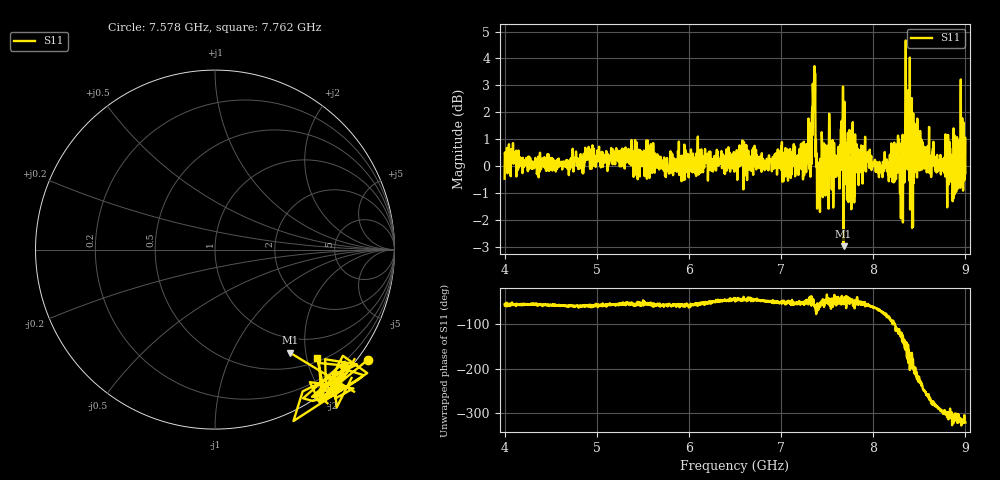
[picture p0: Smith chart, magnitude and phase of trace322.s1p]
! Created with skrf 1.8.0 (http://scikit-rf.org).
# Hz S RI R 50.0
!freq ReS11 ImS11
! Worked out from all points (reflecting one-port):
!   1601 points, 4 GHz to 9 GHz, reference 50 ohm
!   lowest |S11| = -3.0 dB at 7.678 GHz (marker M1), VSWR 5.89, Z = 37.1 - j85.8 ohm
!   phase of S11 starts at -57 deg and turns -263 deg over the sweep
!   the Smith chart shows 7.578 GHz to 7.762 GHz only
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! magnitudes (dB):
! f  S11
! 4 GHz  -0.5
! 4.094 GHz  0.4
! 4.625 GHz  -0.1
! 5.25 GHz  0.0
! 5.875 GHz  -0.1
! 6.5 GHz  0.1
! 7.125 GHz  0.1
! 7.306 GHz  -0.1
! 7.347 GHz  2.7
! 7.362 GHz  3.7
! 7.397 GHz  -0.7
! 7.412 GHz  -1.0
! 7.512 GHz  -0.2
! 7.591 GHz  0.4
! 7.647 GHz  0.3
! 7.678 GHz  -3.0
! 7.703 GHz  0.8
! 7.75 GHz  0.3
! 8.259 GHz  0.8
! 8.312 GHz  0.7
! 8.334 GHz  -0.1
! 8.375 GHz  0.0
! 8.447 GHz  1.6
! 8.459 GHz  -0.2
! 8.503 GHz  -0.2
! 8.844 GHz  -0.4
! 8.959 GHz  1.5
! 9 GHz  -0.3
